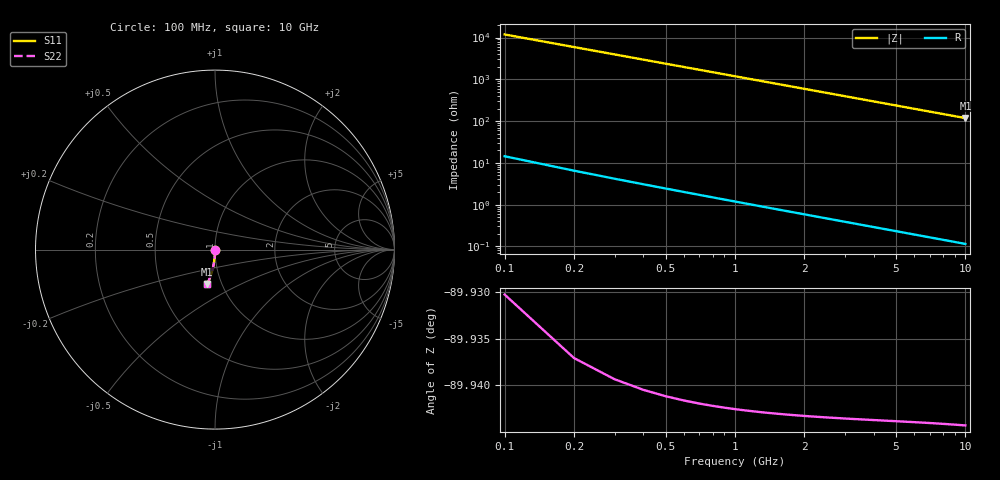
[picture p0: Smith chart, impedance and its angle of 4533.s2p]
# Hz S RI R 50.00
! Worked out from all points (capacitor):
!   100 points, 100 MHz to 10 GHz, reference 50 ohm
!   read as one part in shunt: C = 134 fF near 100 MHz
!   lowest |Z| = 118 ohm at 10 GHz (marker M1)
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1e8  5.24e-05 -0.002  0.9999 -0.00222  0.9999 -0.00222  5.24e-05 -0.002
2e8  3.74e-05 -0.004  0.9999 -0.00444  0.9999 -0.00444  3.74e-05 -0.004
3e8  1.34e-05 -0.006  0.9999 -0.00667  0.9999 -0.00667  1.34e-05 -0.006
4e8  -1.95e-05 -0.008  0.9999 -0.00889  0.9999 -0.00889  -1.95e-05 -0.008
5e8  -6.13e-05 -0.00999  0.9998 -0.0111  0.9998 -0.0111  -6.13e-05 -0.00999
6e8  -0.000112 -0.012  0.9998 -0.0133  0.9998 -0.0133  -0.000112 -0.012
7e8  -0.000172 -0.014  0.9997 -0.0156  0.9997 -0.0156  -0.000172 -0.014
8e8  -0.00024 -0.016  0.9996 -0.0178  0.9996 -0.0178  -0.00024 -0.016
9e8  -0.000318 -0.018  0.9996 -0.02  0.9996 -0.02  -0.000318 -0.018
1.1e9  -0.000499 -0.022  0.9994 -0.0244  0.9994 -0.0244  -0.000499 -0.022
1.4e9  -0.000838 -0.028  0.999 -0.0311  0.999 -0.0311  -0.000838 -0.028
1.8e9  -0.00141 -0.0359  0.9985 -0.04  0.9985 -0.04  -0.00141 -0.0359
2.1e9  -0.00194 -0.0419  0.9979 -0.0466  0.9979 -0.0466  -0.00194 -0.0419
2.5e9  -0.00276 -0.0499  0.9971 -0.0555  0.9971 -0.0555  -0.00276 -0.0499
2.9e9  -0.00373 -0.0578  0.9961 -0.0643  0.9961 -0.0643  -0.00373 -0.0578
3.4e9  -0.00513 -0.0677  0.9947 -0.0753  0.9947 -0.0753  -0.00513 -0.0677
4.2e9  -0.00782 -0.0834  0.992 -0.0928  0.992 -0.0928  -0.00782 -0.0834
5.1e9  -0.0115 -0.1009  0.9883 -0.1124  0.9883 -0.1124  -0.0115 -0.1009
5.9e9  -0.0154 -0.1163  0.9844 -0.1296  0.9844 -0.1296  -0.0154 -0.1163
6.7e9  -0.0198 -0.1316  0.98 -0.1466  0.98 -0.1466  -0.0198 -0.1316
8.4e9  -0.0308 -0.1632  0.9689 -0.1821  0.9689 -0.1821  -0.0308 -0.1632
1e10  -0.0432 -0.1919  0.9564 -0.2144  0.9564 -0.2144  -0.0432 -0.1919
